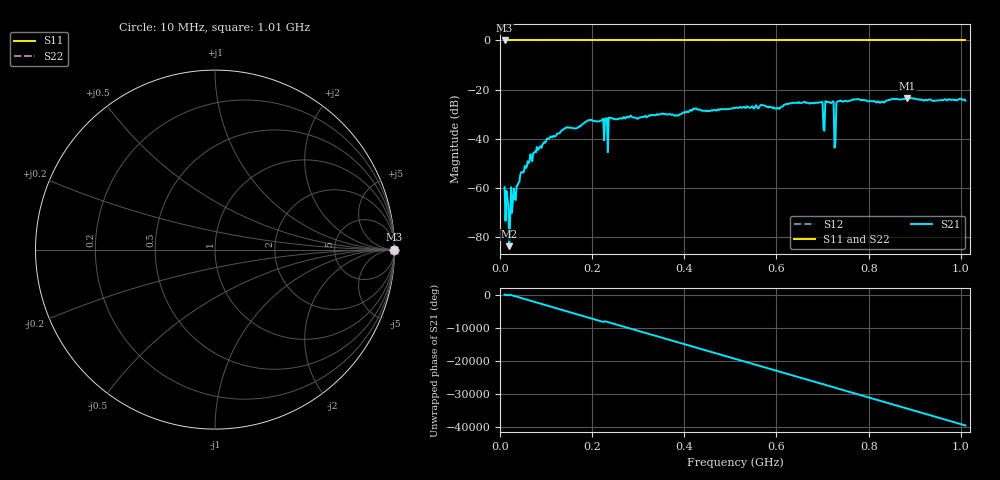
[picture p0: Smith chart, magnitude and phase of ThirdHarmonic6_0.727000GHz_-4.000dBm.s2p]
! 8/16/2025 12:18:31 AM
! C:\ANRITSUVNA\TEMP\TEMP.S2P
! CHANNEL.1
! TR.MEASUREMENT
! RAW.DATA
! RF.CORRECTION.OFF
! AVERAGING.OFF
! IF.BANDWIDTH: 5KHZ
! SWEEPTYPE:  FREQ.SWEEP(Linear)
! Reference Plane Port Info
! PORT:  PORT1  PORT2
! DISTANCE:  0  m  0  m
! TIME:  0  s  0  s
! PHASE.OFFSET:  0  deg.  0  deg.
! LOSS:  0  dB  0  dB
! REF.LOSS:  0  dB  0  dB
! REF.FREQ:  0  Hz  0  Hz
! Power Info
! POWER:  -20  dBm  -20  dBm
! EFF.POWER:  -20  dBm  -20  dBm
! SOURCE.ATTEN:  0  dB  0  dB
! TEST.ATTEN:  0  dB  0  dB
# GHZ S RI R 50.0
! FREQ.GHZ  S11RE  S11IM  S21RE  S21IM  S12RE  S12IM  S22RE  S22IM
!; PortSelection: Port_12
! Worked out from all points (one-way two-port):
!   501 points, 10 MHz to 1.01 GHz, reference 50 ohm
!   highest |S21| = -23.37 dB at 884 MHz (marker M1); lowest = -83.6 dB at 20 MHz (marker M2)
!   lowest |S11| = 0.0 dB at 10 MHz (marker M3)
!   |S11| at or under -10 dB: nowhere
!   |S22| runs from 0.0 to 0.0 dB; largest |S21 - S12| = 1.1
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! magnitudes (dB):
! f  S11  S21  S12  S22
! 10 MHz  0.0  -59.6  0.0  0.0
! 20 MHz  0.0  -83.6  0.0  0.0
! 24 MHz  0.0  -59.6  0.0  0.0
! 28 MHz  0.0  -65.1  0.0  0.0
! 48 MHz  0.0  -53.4  0.0  0.0
! 76 MHz  0.0  -45.2  0.0  0.0
! 178 MHz  0.0  -34.2  0.0  0.0
! 220 MHz  0.0  -32.6  0.0  0.0
! 230 MHz  0.0  -31.6  0.0  0.0
! 240 MHz  0.0  -31.4  0.0  0.0
! 344 MHz  0.0  -30.2  0.0  0.0
! 510 MHz  0.0  -27.5  0.0  0.0
! 678 MHz  0.0  -25.4  0.0  0.0
! 696 MHz  0.0  -25.2  0.0  0.0
! 700 MHz  0.0  -25.1  0.0  0.0
! 720 MHz  0.0  -25.2  0.0  0.0
! 724 MHz  0.0  -24.8  0.0  0.0
! 728 MHz  0.0  -41.2  0.0  0.0
! 736 MHz  0.0  -24.6  0.0  0.0
! 844 MHz  0.0  -24.1  0.0  0.0
! 884 MHz  0.0  -23.4  0.0  0.0
! 1.01 GHz  0.0  -24.5  0.0  0.0
